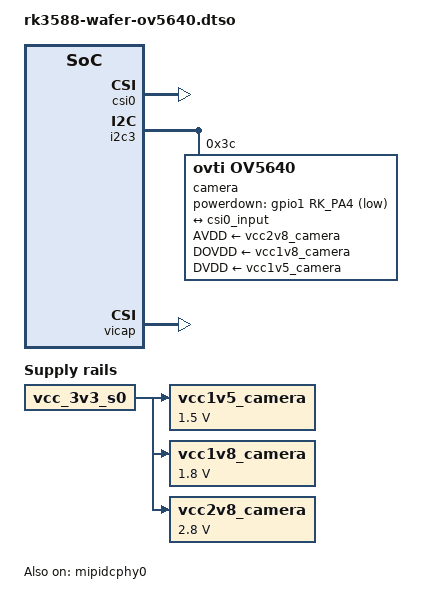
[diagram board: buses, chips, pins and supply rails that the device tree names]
// SPDX-License-Identifier: (GPL-2.0+ OR MIT)
/*
 * Device tree overlay for an OV5640 camera module attached to the
 * MIPI CSI connector of the IEI WAFER-RK3588.
 *
 * Copyright (c) 2026 IEI Integration Corp.
 */

/dts-v1/;
/plugin/;

#include <dt-bindings/clock/rockchip,rk3588-cru.h>
#include <dt-bindings/gpio/gpio.h>
#include <dt-bindings/pinctrl/rockchip.h>

&{/} {
	vcc1v5_camera: regulator-vcc1v5-camera {
		compatible = "regulator-fixed";
		regulator-name = "vcc1v5_camera";
		regulator-min-microvolt = <1500000>;
		regulator-max-microvolt = <1500000>;
		vin-supply = <&vcc_3v3_s0>;
	};

	vcc1v8_camera: regulator-vcc1v8-camera {
		compatible = "regulator-fixed";
		regulator-name = "vcc1v8_camera";
		regulator-min-microvolt = <1800000>;
		regulator-max-microvolt = <1800000>;
		vin-supply = <&vcc_3v3_s0>;
	};

	vcc2v8_camera: regulator-vcc2v8-camera {
		compatible = "regulator-fixed";
		regulator-name = "vcc2v8_camera";
		regulator-min-microvolt = <2800000>;
		regulator-max-microvolt = <2800000>;
		vin-supply = <&vcc_3v3_s0>;
	};
};

&csi0 {
	status = "okay";
};

&csi0_in {
	csi0_input: endpoint {
		clock-lanes = <0>;
		data-lanes = <1 2>;
		remote-endpoint = <&ov5640_out>;
	};
};

&i2c3 {
	#address-cells = <1>;
	#size-cells = <0>;
	pinctrl-names = "default";
	pinctrl-0 = <&i2c3m2_xfer>;
	status = "okay";

	camera@3c {
		compatible = "ovti,ov5640";
		reg = <0x3c>;
		clocks = <&cru CLK_MIPI_CAMARAOUT_M1>;
		clock-names = "xclk";
		assigned-clocks = <&cru CLK_MIPI_CAMARAOUT_M1>;
		assigned-clock-rates = <24000000>;
		pinctrl-names = "default";
		pinctrl-0 = <&mipim0_camera1_clk &camera_pwdn>;
		AVDD-supply = <&vcc2v8_camera>;
		DOVDD-supply = <&vcc1v8_camera>;
		DVDD-supply = <&vcc1v5_camera>;
		powerdown-gpios = <&gpio1 RK_PA4 GPIO_ACTIVE_LOW>;

		port {
			ov5640_out: endpoint {
				clock-lanes = <0>;
				data-lanes = <1 2>;
				remote-endpoint = <&csi0_input>;
			};
		};
	};
};

&mipidcphy0 {
	status = "okay";
};

&pinctrl {
	camera {
		camera_pwdn: camera-pwdn {
			rockchip,pins = <1 RK_PA4 RK_FUNC_GPIO &pcfg_pull_up>;
		};
	};
};

&vicap {
	status = "okay";
};

&vicap_mmu {
	status = "okay";
};
